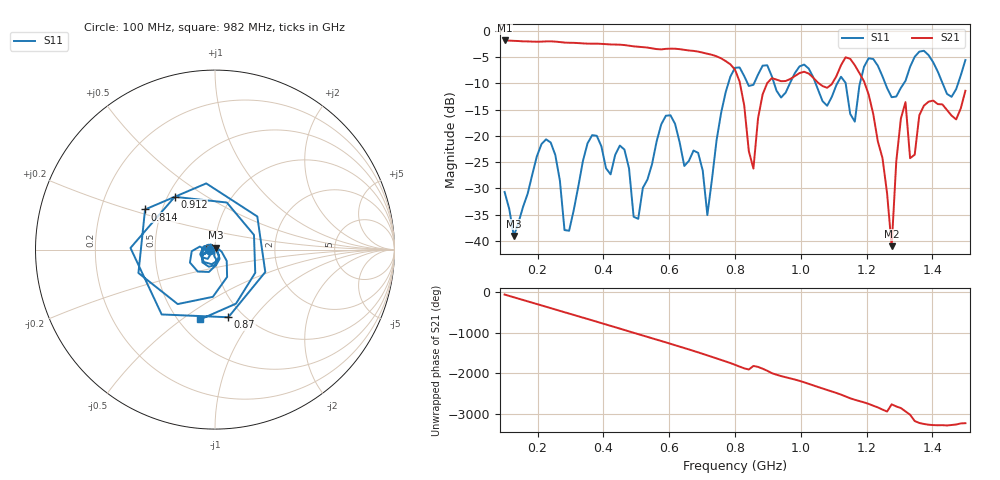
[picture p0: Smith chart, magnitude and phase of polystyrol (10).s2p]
! NanoVNA-App
! Date: 2025-09-25 15:29:58
! Start: 100MHz Stop: 1,5GHz Points: 101
! S-Parameter data: F S11 S21 S12 S22
# Hz S RI R 50
!  Frequency  S11_Real  S11_Imag  S21_Real  S21_Imag  S12_Real  S12_Imag  S22_Real  S22_Imag
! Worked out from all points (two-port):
!   101 points, 100 MHz to 1.5 GHz, reference 50 ohm
!   highest |S21| = -1.80 dB at 100 MHz (marker M1); lowest = -41.0 dB at 1.276 GHz (marker M2)
!   |S21| within 3 dB of the highest: start of sweep to 742.9 MHz
!   lowest |S11| = -39.1 dB at 128 MHz (marker M3), VSWR 1.02, Z = 50.3 + j1.06 ohm
!   |S11| at or under -10 dB: start of sweep to 779.7 MHz; 1.045 GHz to 1.111 GHz (65.65 MHz wide, 6.09 % of centre); 1.257 GHz to 1.313 GHz (56.27 MHz wide, 4.38 % of centre) (the widest 3 of 7)
!   S12 and S22 are empty: the file has one direction only
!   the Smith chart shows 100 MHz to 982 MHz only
!   S11 on the Smith chart (normalised r, x): 100 MHz: 0.94, -0.01; 814 MHz: 0.40, +0.23; 870 MHz: 0.85, -0.75; 912 MHz: 0.54, +0.37; 982 MHz: 0.64, -0.59
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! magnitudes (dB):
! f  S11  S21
! 100 MHz  -30.7  -1.8
! 128 MHz  -39.1  -1.9
! 212 MHz  -21.6  -2.0
! 282 MHz  -38.0  -2.2
! 338 MHz  -24.8  -2.4
! 464 MHz  -22.6  -2.7
! 506 MHz  -35.8  -3.0
! 576 MHz  -17.8  -3.5
! 716 MHz  -35.1  -4.3
! 800 MHz  -7.0  -7.4
! 814 MHz  -7.0  -9.6
! 856 MHz  -10.3  -26.2
! 870 MHz  -8.3  -16.6
! 912 MHz  -8.6  -9.0
! 982 MHz  -8.0  -8.6
! 1.038 GHz  -8.8  -8.9
! 1.164 GHz  -17.3  -6.5
! 1.192 GHz  -6.8  -9.6
! 1.276 GHz  -12.6  -41.0
! 1.318 GHz  -9.5  -13.6
! 1.332 GHz  -6.8  -24.3
! 1.5 GHz  -5.5  -11.4
